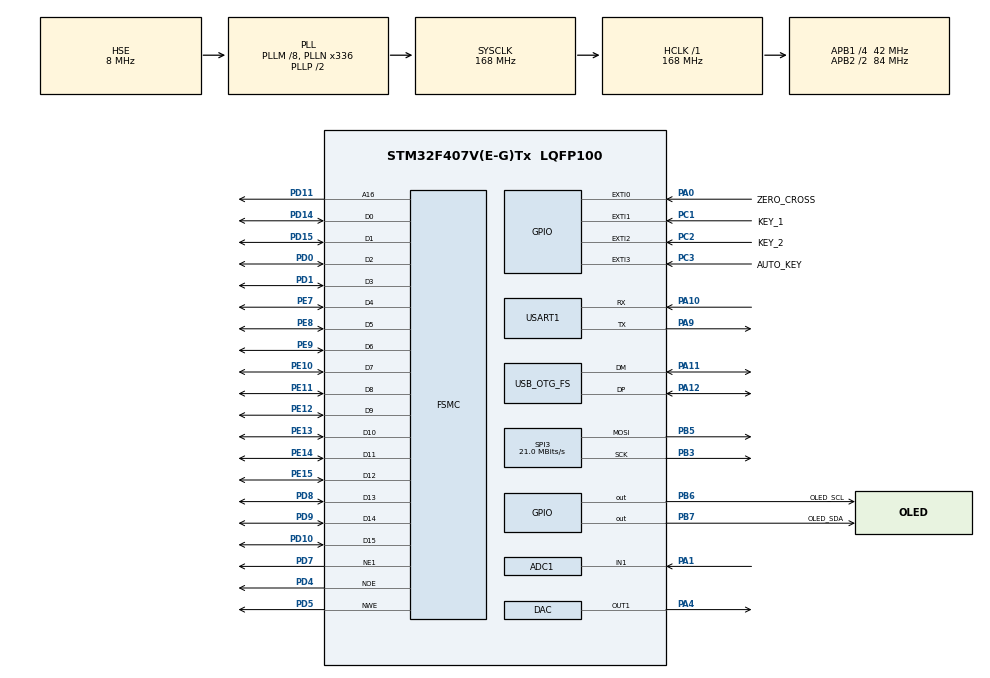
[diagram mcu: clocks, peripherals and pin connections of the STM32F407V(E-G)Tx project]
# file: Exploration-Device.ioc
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ADC1.Channel-0\#ChannelRegularConversion=ADC_CHANNEL_1
ADC1.DMAContinuousRequests=ENABLE
ADC1.ExternalTrigConv=ADC_EXTERNALTRIGCONV_T2_TRGO
ADC1.NbrOfConversionFlag=1
ADC1.Rank-0\#ChannelRegularConversion=1
ADC1.SamplingTime-0\#ChannelRegularConversion=ADC_SAMPLETIME_15CYCLES
ADC1.master=1
DAC.DAC_Trigger=DAC_TRIGGER_T2_TRGO
Dma.ADC1.1.Direction=DMA_PERIPH_TO_MEMORY
Dma.ADC1.1.FIFOMode=DMA_FIFOMODE_DISABLE
Dma.ADC1.1.Instance=DMA2_Stream0
Dma.ADC1.1.MemDataAlignment=DMA_MDATAALIGN_HALFWORD
Dma.ADC1.1.MemInc=DMA_MINC_ENABLE
Dma.ADC1.1.Mode=DMA_CIRCULAR
Dma.ADC1.1.PeriphDataAlignment=DMA_PDATAALIGN_HALFWORD
Dma.ADC1.1.PeriphInc=DMA_PINC_DISABLE
Dma.ADC1.1.Priority=DMA_PRIORITY_LOW
Dma.DAC1.0.Direction=DMA_MEMORY_TO_PERIPH
Dma.DAC1.0.FIFOMode=DMA_FIFOMODE_DISABLE
Dma.DAC1.0.Instance=DMA1_Stream5
Dma.DAC1.0.MemDataAlignment=DMA_MDATAALIGN_HALFWORD
Dma.DAC1.0.MemInc=DMA_MINC_ENABLE
Dma.DAC1.0.Mode=DMA_CIRCULAR
Dma.DAC1.0.PeriphDataAlignment=DMA_PDATAALIGN_HALFWORD
Dma.DAC1.0.PeriphInc=DMA_PINC_DISABLE
Dma.DAC1.0.Priority=DMA_PRIORITY_LOW
Dma.Request0=DAC1
Dma.Request1=ADC1
FSMC.AddressSetupTime1=2
FSMC.BusTurnAroundDuration1=10
FSMC.DataSetupTime1=6
FSMC.ExtendedAddressSetupTime1=2
FSMC.ExtendedBusTurnAroundDuration1=10
FSMC.ExtendedDataSetupTime1=6
FSMC.ExtendedMode1=FSMC_EXTENDED_MODE_ENABLE
Mcu.Family=STM32F4
Mcu.Name=STM32F407V(E-G)Tx
Mcu.Package=LQFP100
NVIC.ADC_IRQn=true\:1\:0\:true\:false\:true\:true\:true\:true
NVIC.DMA1_Stream5_IRQn=true\:3\:0\:true\:false\:true\:false\:true\:true
NVIC.DMA2_Stream0_IRQn=true\:0\:0\:false\:false\:true\:false\:true\:true
NVIC.EXTI0_IRQn=true\:0\:0\:true\:false\:true\:true\:true\:true
NVIC.EXTI1_IRQn=true\:10\:0\:true\:false\:true\:true\:true\:true
NVIC.EXTI2_IRQn=true\:10\:0\:true\:false\:true\:true\:true\:true
NVIC.EXTI3_IRQn=true\:0\:0\:false\:false\:true\:true\:true\:true
NVIC.OTG_FS_IRQn=true\:0\:0\:false\:false\:true\:false\:true\:true
NVIC.PriorityGroup=NVIC_PRIORITYGROUP_4
NVIC.TIM2_IRQn=true\:2\:0\:true\:false\:true\:true\:true\:true
PA0-WKUP.GPIO_Label=ZERO_CROSS
PA0-WKUP.Signal=GPXTI0
PA1.Signal=ADCx_IN1
PA10.Mode=Asynchronous
PA10.Signal=USART1_RX
PA11.Mode=Device_Only
PA11.Signal=USB_OTG_FS_DM
PA12.Mode=Device_Only
PA12.Signal=USB_OTG_FS_DP
PA13.Mode=Serial_Wire
PA13.Signal=SYS_JTMS-SWDIO
PA14.Mode=Serial_Wire
PA14.Signal=SYS_JTCK-SWCLK
PA4.Signal=COMP_DAC1_group
PA9.Mode=Asynchronous
PA9.Signal=USART1_TX
PB3.Mode=TX_Only_Simplex_Unidirect_Master
PB3.Signal=SPI3_SCK
PB5.Mode=TX_Only_Simplex_Unidirect_Master
PB5.Signal=SPI3_MOSI
PB6.GPIO_Label=OLED_SCL
PB6.GPIO_ModeDefaultOutputPP=GPIO_MODE_OUTPUT_OD
PB6.GPIO_PuPd=GPIO_PULLUP
PB6.GPIO_Speed=GPIO_SPEED_FREQ_HIGH
PB6.PinState=GPIO_PIN_SET
PB6.Signal=GPIO_Output
PB7.GPIO_Label=OLED_SDA
PB7.GPIO_ModeDefaultOutputPP=GPIO_MODE_OUTPUT_OD
PB7.GPIO_PuPd=GPIO_PULLUP
PB7.GPIO_Speed=GPIO_SPEED_FREQ_HIGH
PB7.PinState=GPIO_PIN_SET
PB7.Signal=GPIO_Output
PC1.GPIO_Label=KEY_1
PC1.GPIO_ModeDefaultEXTI=GPIO_MODE_IT_FALLING
PC1.GPIO_PuPd=GPIO_PULLUP
PC1.Signal=GPXTI1
PC14-OSC32_IN.Mode=LSE-External-Oscillator
PC14-OSC32_IN.Signal=RCC_OSC32_IN
PC15-OSC32_OUT.Mode=LSE-External-Oscillator
PC15-OSC32_OUT.Signal=RCC_OSC32_OUT
PC2.GPIO_Label=KEY_2
PC2.GPIO_ModeDefaultEXTI=GPIO_MODE_IT_FALLING
PC2.GPIO_PuPd=GPIO_PULLUP
PC2.Signal=GPXTI2
PC3.GPIO_Label=AUTO_KEY
PC3.GPIO_ModeDefaultEXTI=GPIO_MODE_IT_FALLING
PC3.GPIO_PuPd=GPIO_PULLUP
PC3.Signal=GPXTI3
PD0.Mode=16b-d1
PD0.Signal=FSMC_D2
PD1.Mode=16b-d1
PD1.Signal=FSMC_D3
PD10.Mode=16b-d1
PD10.Signal=FSMC_D15
PD11.Mode=A16_1
PD11.Signal=FSMC_A16
PD14.Mode=16b-d1
PD14.Signal=FSMC_D0
PD15.Mode=16b-d1
PD15.Signal=FSMC_D1
PD4.Mode=Lcd1
PD4.Signal=FSMC_NOE
PD5.Mode=Lcd1
PD5.Signal=FSMC_NWE
PD7.Mode=NorPsramChipSelect1_1
PD7.Signal=FSMC_NE1
PD8.Mode=16b-d1
PD8.Signal=FSMC_D13
PD9.Mode=16b-d1
PD9.Signal=FSMC_D14
PE10.Mode=16b-d1
PE10.Signal=FSMC_D7
PE11.Mode=16b-d1
PE11.Signal=FSMC_D8
PE12.Mode=16b-d1
PE12.Signal=FSMC_D9
PE13.Mode=16b-d1
PE13.Signal=FSMC_D10
PE14.Mode=16b-d1
PE14.Signal=FSMC_D11
PE15.Mode=16b-d1
PE15.Signal=FSMC_D12
PE7.Mode=16b-d1
PE7.Signal=FSMC_D4
PE8.Mode=16b-d1
PE8.Signal=FSMC_D5
PE9.Mode=16b-d1
PE9.Signal=FSMC_D6
PH0-OSC_IN.Mode=HSE-External-Oscillator
PH0-OSC_IN.Signal=RCC_OSC_IN
PH1-OSC_OUT.Mode=HSE-External-Oscillator
PH1-OSC_OUT.Signal=RCC_OSC_OUT
ProjectManager.HeapSize=0x200
ProjectManager.StackSize=0x400
ProjectManager.TargetToolchain=MDK-ARM V5.32
RCC.48MHZClocksFreq_Value=48000000
RCC.AHBFreq_Value=168000000
RCC.APB1CLKDivider=RCC_HCLK_DIV4
RCC.APB1Freq_Value=42000000
RCC.APB1TimFreq_Value=84000000
RCC.APB2CLKDivider=RCC_HCLK_DIV2
RCC.APB2Freq_Value=84000000
RCC.APB2TimFreq_Value=168000000
RCC.CortexFreq_Value=168000000
RCC.HCLKFreq_Value=168000000
RCC.HSE_VALUE=8000000
RCC.HSI_VALUE=16000000
RCC.PLLM=8
RCC.PLLN=336
RCC.PLLQ=7
RCC.RCC_RTC_Clock_Source=RCC_RTCCLKSOURCE_LSE
RCC.RCC_RTC_Clock_SourceVirtual=RCC_RTCCLKSOURCE_LSE
RCC.SYSCLKFreq_VALUE=168000000
RCC.SYSCLKSource=RCC_SYSCLKSOURCE_PLLCLK
RCC.VCOOutputFreq_Value=336000000
SH.ADCx_IN1.0=ADC1_IN1,IN1
SH.COMP_DAC1_group.0=DAC_OUT1,DAC_OUT1
SPI3.CalculateBaudRate=21.0 MBits/s
SPI3.Direction=SPI_DIRECTION_2LINES
SPI3.Mode=SPI_MODE_MASTER
SPI3.VirtualType=VM_MASTER
TIM2.AutoReloadPreload=TIM_AUTORELOAD_PRELOAD_ENABLE
TIM2.Period=84-1
TIM2.Prescaler=1-1
TIM2.TIM_MasterOutputTrigger=TIM_TRGO_UPDATE
USART1.VirtualMode=VM_ASYNC
USB_DEVICE.CLASS_NAME_FS=CDC
USB_DEVICE.VirtualMode-CDC_FS=Cdc
USB_DEVICE.VirtualModeFS=Cdc_FS
USB_OTG_FS.VirtualMode=Device_Only
VP_RTC_VS_RTC_Activate.Mode=RTC_Enabled
VP_TIM2_VS_ClockSourceINT.Mode=Internal
VP_USB_DEVICE_VS_USB_DEVICE_CDC_FS.Mode=CDC_FS
board=custom

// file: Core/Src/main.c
/* USER CODE BEGIN Header */
/**
  ******************************************************************************
  * @file           : main.c
  * @brief          : Main program body
  ******************************************************************************
  * @attention
  *
  * Copyright (c) 2026 STMicroelectronics.
  * All rights reserved.
  *
  * This software is licensed under terms that can be found in the LICENSE file
  * in the root directory of this software component.
  * If no LICENSE file comes with this software, it is provided AS-IS.
  *
  ******************************************************************************
  */
/* USER CODE END Header */
#include "main.h"
#include "adc.h"
#include "dac.h"
#include "dma.h"
#include "rtc.h"
#include "spi.h"
#include "tim.h"
#include "usart.h"
#include "usb_device.h"
#include "gpio.h"
#include "fsmc.h"

/* USER CODE BEGIN Includes */
#include "signal_gen.h"
#include "adc_measure.h"
#include "control_sys.h"
#include "key.h"
#include "dsp_filter.h"
#include "determine_type.h"
#include "OLED.h"
/* USER CODE END Includes */

void SystemClock_Config(void);

/* USER CODE BEGIN 0 */
// ==============================================
// 调试开关
#define DEBUG_MODE 0

// 当DEBUG_MODE打开时，固定进入的任务状态ID：
// 2: 基础任务2 (纯DAC开环)
// 3: 基础任务3 (PI闭环稳幅 + PID自整定控制)
// 4: 基础任务4 (模拟计算的FIR/IIR等参数启动流)
// 发挥部分就自己点吧（万能auto不是吗？）
#define DEBUG_TASK_ID 3
// ==============================================

/**
 * @brief 用于开启时钟计数
 */
void DWT_Init(void) {
    // 1. 开启调试跟踪组件（必开）
    CoreDebug->DEMCR |= CoreDebug_DEMCR_TRCENA_Msk;

    // 3. 计数器清零
    DWT->CYCCNT = 0;

    // 4. 开启计数器（必开）
    DWT->CTRL |= DWT_CTRL_CYCCNTENA_Msk;
}
/* USER CODE END 0 */

int main(void)
{

  /* MCU Configuration--------------------------------------------------------*/

  /* Reset of all peripherals, Initializes the Flash interface and the Systick. */
  HAL_Init();

  /* Configure the system clock */
  SystemClock_Config();

  /* Initialize all configured peripherals */
  MX_GPIO_Init();
  MX_DMA_Init();
  MX_FSMC_Init();
  MX_RTC_Init();
  MX_SPI3_Init();
  MX_USART1_UART_Init();
  MX_USB_DEVICE_Init();
  MX_DAC_Init();
  MX_ADC1_Init();
  MX_TIM2_Init();
  /* USER CODE BEGIN 2 */

  // 初始化内置DWT周期计数器，用于高精度硬件周期测频
  DWT_Init();

  //OLED初始化
  OLED_Init();
  OLED_Clear();
  Init_SineRef(); // 必须初始化波形表，否则全是直流 0！
  // PI控制
  Control_Init();
  //计算IIR滤波系数，提前算好
  Calculate_IIR_Coeffs();
  ADC_Measure_Start();
  SignalGen_Start(1.0);

  //顺手清零
  __HAL_TIM_SET_COUNTER(&htim2,0);
  //目前只用上了这一个时钟
  HAL_TIM_Base_Start(&htim2);
	//开始界面
	OLED_ShowCenterString("Start");
  static MachineTaskMode_t key_last_flag = SYS_MODE_INIT;
  static uint8_t tab_flag=0;
  /* USER CODE END 2 */

  /* Infinite loop */
  while (1)
  {

    /* USER CODE BEGIN 3 */
#if DEBUG_MODE == 1
    // 一键覆盖状态，将机器强制固定到指定任务以单独测试
    key_flag = (MachineTaskMode_t)DEBUG_TASK_ID;

    if (key_last_flag != key_flag) {
        key_last_flag = key_flag;
        tab_flag = 1;
    } else {
        tab_flag = 0;
    }

#if DEBUG_TASK_ID == 2
    if (tab_flag) task2_do();

#elif DEBUG_TASK_ID == 3
    if (tab_flag) task3_do();
    // 运行正常的PI反馈环计算任务
    PI_Task();
    // 运行自动 PID 阶梯参数扫描及OLED显示显示
    PID_AutoTune_Task();

#elif DEBUG_TASK_ID == 4
    if (tab_flag) Task4_do();
#endif

#else
    if (key_last_flag!=key_flag)
    {
      key_last_flag=key_flag;
      tab_flag=1;
    }
    else{
      tab_flag=0;
    }
      switch (key_flag){
        case SYS_MODE_BASIC_2:
        //基础部分2
        if (tab_flag) task2_do();
          break;
        case SYS_MODE_BASIC_3:
        //基础部分3
        if (tab_flag) task3_do();
                      PI_Task();//漏看这个了
          break;
        case SYS_MODE_BASIC_4:
        //基础部分4
        if (tab_flag)  Task4_do();
          break;
        //改成冗余部分了
        case SYS_MODE_AUTO_MSG:
        if (tab_flag){
          OLED_Clear();
          OLED_ShowCenterString("Press to auto mode.");
        }
        break;

        case SYS_MODE_ADVANCED_1:
        //发挥1
        if (tab_flag)  task5_do();
          break;

        case SYS_MODE_ADVANCED_2:
        //发挥2
        if (tab_flag)  Task6_do();
        break;
        default:
          break;
      }
#endif
  }
  /* USER CODE END 3 */
}

void SystemClock_Config(void)
{
  RCC_OscInitTypeDef RCC_OscInitStruct = {0};
  RCC_ClkInitTypeDef RCC_ClkInitStruct = {0};

  /** Configure the main internal regulator output voltage
  */
  __HAL_RCC_PWR_CLK_ENABLE();
  __HAL_PWR_VOLTAGESCALING_CONFIG(PWR_REGULATOR_VOLTAGE_SCALE1);

  /** Initializes the RCC Oscillators according to the specified parameters
  * in the RCC_OscInitTypeDef structure.
  */
  RCC_OscInitStruct.OscillatorType = RCC_OSCILLATORTYPE_HSE|RCC_OSCILLATORTYPE_LSE;
  RCC_OscInitStruct.HSEState = RCC_HSE_ON;
  RCC_OscInitStruct.LSEState = RCC_LSE_ON;
  RCC_OscInitStruct.PLL.PLLState = RCC_PLL_ON;
  RCC_OscInitStruct.PLL.PLLSource = RCC_PLLSOURCE_HSE;
  RCC_OscInitStruct.PLL.PLLM = 8;
  RCC_OscInitStruct.PLL.PLLN = 336;
  RCC_OscInitStruct.PLL.PLLP = RCC_PLLP_DIV2;
  RCC_OscInitStruct.PLL.PLLQ = 7;
  if (HAL_RCC_OscConfig(&RCC_OscInitStruct) != HAL_OK)
  {
    Error_Handler();
  }

  /** Initializes the CPU, AHB and APB buses clocks
  */
  RCC_ClkInitStruct.ClockType = RCC_CLOCKTYPE_HCLK|RCC_CLOCKTYPE_SYSCLK
                              |RCC_CLOCKTYPE_PCLK1|RCC_CLOCKTYPE_PCLK2;
  RCC_ClkInitStruct.SYSCLKSource = RCC_SYSCLKSOURCE_PLLCLK;
  RCC_ClkInitStruct.AHBCLKDivider = RCC_SYSCLK_DIV1;
  RCC_ClkInitStruct.APB1CLKDivider = RCC_HCLK_DIV4;
  RCC_ClkInitStruct.APB2CLKDivider = RCC_HCLK_DIV2;

  if (HAL_RCC_ClockConfig(&RCC_ClkInitStruct, FLASH_LATENCY_5) != HAL_OK)
  {
    Error_Handler();
  }
}

/* USER CODE BEGIN 4 */
void HAL_GPIO_EXTI_Callback(uint16_t GPIO_Pin){
    Key_handler(GPIO_Pin);
}
void HAL_ADC_ConvHalfCpltCallback(ADC_HandleTypeDef* hadc) {
    if (hadc->Instance == ADC1) {
       switch(key_flag){
          case SYS_MODE_BASIC_3:
          case SYS_MODE_ADVANCED_1: // 发挥1(测未知电路)底层同样需要测量Vpp与波形生成
          Measure_ADC_HalfCpltCallback();
          break;
          case SYS_MODE_BASIC_4:
          case SYS_MODE_ADVANCED_2: // 发挥2模拟未知电路，底层共用IIR乒乓调度
          //也完成了发挥2
          IIR_Filter_ADC_HalfCpltCallback();
          break;

          default:
            break;
       }
    }
}

void HAL_ADC_ConvCpltCallback(ADC_HandleTypeDef* hadc) {
    if (hadc->Instance == ADC1) {
       switch(key_flag){
          case SYS_MODE_BASIC_3:
          case SYS_MODE_ADVANCED_1: // 发挥1(测未知电路)的后续处理
          Measure_ADC_FullCpltCallback();
          break;
          case SYS_MODE_BASIC_4:
          case SYS_MODE_ADVANCED_2: // 发挥2(模拟电路)底层共用IIR流
          IIR_Filter_ADC_FullCpltCallback();
          break;

          default:
            break;
       }
    }
}

void HAL_DAC_ConvHalfCpltCallbackCh1(DAC_HandleTypeDef *hdac) {
    if (hdac->Instance == DAC) {
        if (key_flag == SYS_MODE_BASIC_2 || key_flag == SYS_MODE_BASIC_3 || key_flag == SYS_MODE_ADVANCED_1) {
            SignalGen_DAC_HalfCpltCallback();
        }
    }
}

void HAL_DAC_ConvCpltCallbackCh1(DAC_HandleTypeDef *hdac) {
    if (hdac->Instance == DAC) {
        if (key_flag == SYS_MODE_BASIC_2 || key_flag == SYS_MODE_BASIC_3 || key_flag == SYS_MODE_ADVANCED_1) {
            SignalGen_DAC_FullCpltCallback();
        }
    }
}

/* USER CODE END 4 */

void Error_Handler(void)
{
  __disable_irq();
  while (1)
  {
  }
}
